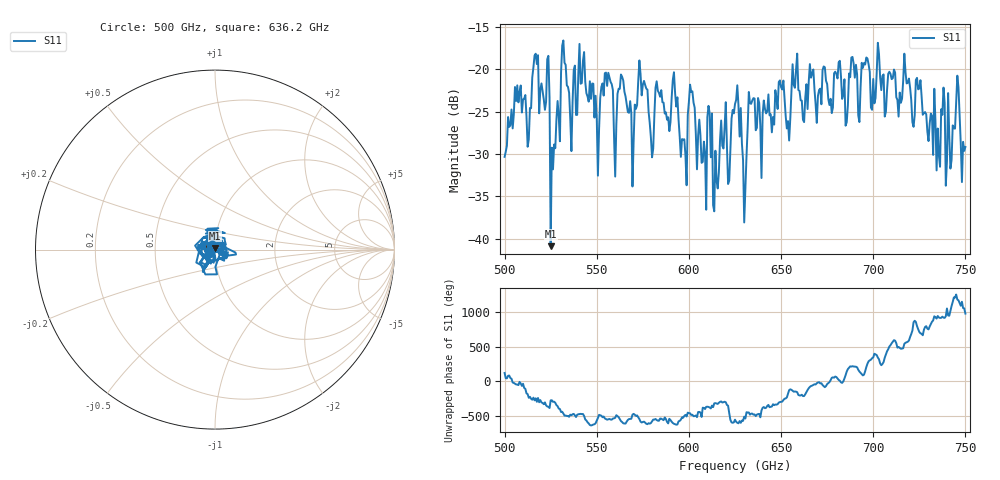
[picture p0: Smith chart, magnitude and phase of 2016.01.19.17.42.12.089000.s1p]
!Created with skrf (http://scikit-rf.org).
# GHz S RI R 50.0
!freq ReS11 ImS11
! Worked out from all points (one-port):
!   401 points, 500 GHz to 750 GHz, reference 50 ohm
!   lowest |S11| = -40.9 dB at 525 GHz (marker M1), VSWR 1.02, Z = 50.1 + j0.893 ohm
!   |S11| at or under -10 dB: start of sweep to end of sweep
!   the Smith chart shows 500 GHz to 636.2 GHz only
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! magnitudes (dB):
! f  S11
! 500 GHz  -30.3
! 506.9 GHz  -21.9
! 513.1 GHz  -28.2
! 516.9 GHz  -18.1
! 523.1 GHz  -18.8
! 525 GHz  -40.9
! 526.2 GHz  -31.8
! 531.2 GHz  -17.2
! 541.9 GHz  -21.6
! 550 GHz  -25.8
! 562.5 GHz  -22.3
! 568.8 GHz  -25.2
! 573.8 GHz  -20.5
! 579.4 GHz  -28.1
! 583.1 GHz  -22.5
! 593.8 GHz  -23.3
! 597.5 GHz  -28.3
! 601.9 GHz  -22.6
! 608.1 GHz  -28.5
! 611.2 GHz  -25.2
! 614.4 GHz  -29.6
! 625 GHz  -24.1
! 630 GHz  -38.1
! 633.8 GHz  -24.1
! 656.2 GHz  -19.4
! 687.5 GHz  -20.9
! 718.8 GHz  -21.6
! 750 GHz  -29.2
